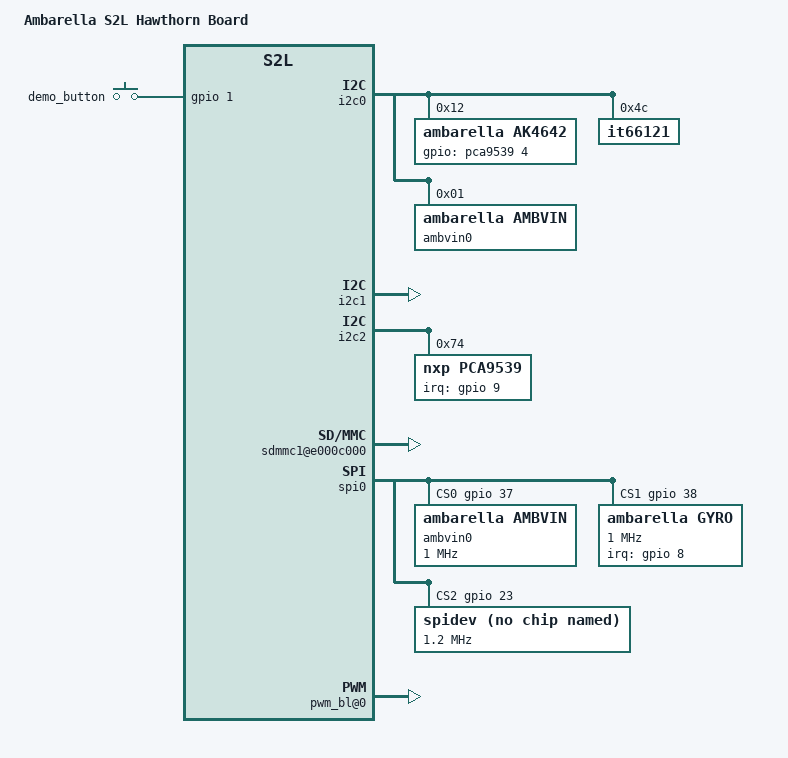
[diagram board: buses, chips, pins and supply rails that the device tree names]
/*
 * Copyright (C) 2013 Ambarella,Inc. - http://www.ambarella.com/
 * Author: Cao Rongrong <rrcao@ambarella.com>
 *
 * This program is free software; you can redistribute it and/or modify
 * it under the terms of the GNU General Public License version 2 as
 * published by the Free Software Foundation.
 */
/dts-v1/;

/include/ "ambarella-s2l.dtsi"

/ {
	model = "Ambarella S2L Hawthorn Board";
	compatible = "ambarella,hawthorn", "ambarella,s2l";

	chosen {
		bootargs = "console=ttyS0 ubi.mtd=lnx root=ubi0:rootfs rw rootfstype=ubifs init=/linuxrc";
	};

	apb@e8000000 {
		i2c0: i2c@e8003000 {
			status = "ok";

			ak4642: codec@12 {
				compatible = "ambarella,ak4642";
				reg = <0x12>;
				gpios = <&pca9539 4 0x0>;
			};

			it66121@4c {
				compatible = "it66121";
				reg = <0x4c>;
			};

			ambvin0@01 {
				compatible = "ambarella,ambvin";
				reg = <0x01>;	/* fake address, will be overwritten in runtime */
			};
	        };

		i2c1: i2c@e8001000 {
			status = "ok";
	        };

		i2c2: i2c@e8007000 {
			status = "ok";

			pca9539: pca9539@74 {
				compatible = "nxp,pca9539";
				reg = <0x74>;
				interrupt-parent = <&gpio>;
				interrupts = <9 0x0>;
				gpio-controller;
				#gpio-cells = <2>;
				interrupt-controller;
				#interrupt-cells = <2>;
			};
	        };

		adc@e801d000 {
			amb,keymap =
				/* channel 1 */
				<0x1fff0c1c 0>,   /* KEY_RESERVED */
				<0x1c1c0a8c 373>, /* KEY_MODE */
				<0x19600708 111>, /* KEY_DELETE */
				<0x154603e8 167>, /* KEY_RECORD */
				<0x1320012c 211>, /* KEY_HP */
				<0x10c80000 212>, /* KEY_CAMERA */
				/* channel 3 */
				<0x3fff0c1c 0>,   /* KEY_RESERVED */
				<0x3c1c0af0 139>, /* KEY_MENU */
				<0x3af007d0 106>, /* KEY_RIGHT */
				<0x37d003e8 105>, /* KEY_LEFT */
				<0x33e80190 108>, /* KEY_DOWN */
				<0x31900000 103>; /* KEY_UP */
		};

		ir@e8006000 {
			amb,protocol = <1>;
			amb,keymap =
				<0x0100bcbd 116>, /* KEY_POWER */
				<0x01000405 115>, /* KEY_VOLUMEUP */
				<0x01008485 114>; /* KEY_VOLUMEDOWN */
			/* amb,print-key; */
		};
	};

	ahb@e0000000 {
		sdmmc0@e0002000 {
			slot@0 {
				pwr-gpios = <&pca9539 0 0x1>;
				v18-gpios = <&gpio 0 0x0>;
				amb,caps-ddr;
				max-frequency = <200000000>;
			};
		};

		sdmmc1@e000c000 {
			status = "ok";
			slot@0 {
				pwr-gpios = <&pca9539 1 0x1>;
				no-1-8-v;
				keep-power-in-suspend;
				max-frequency = <50000000>;
				bus-width = <4>;
			};
		};

		mac0: ethernet@e000e000 {
			phy@3 {
				rst-gpios = <&pca9539 2 0x0>;
				interrupt-parent = <&gpio>;
				interrupts = <10 0x8>;
			};
		};

		spi0: spi@e0020000 {
			cs-gpios = <&gpio 37 0>, <&gpio 38 0>, <&gpio 23 0>;

			ambvin0@0 {
				compatible = "ambarella,ambvin";
				reg = <0>;
				spi-max-frequency = <1000000>;
				spi-cpha;
				spi-cpol;
			};

			gyro@1 {
				compatible = "ambarella,gyro";
				reg = <1>;
				spi-max-frequency = <1000000>;
				spi-cpha;
				spi-cpol;
				irq-gpio = <&gpio 8 0>;
			};
			spidev@2 {
				compatible = "ambarella,spidev";
				reg = <2>;
				spi-max-frequency = <1200000>;
				spi-cpha;
				spi-cpol;
			};
		};
	};

	rct@ec170000 {
		usbphy: usbphy@ec170050 {
			/* high will trigger the ocp interrupt */
			amb,ocp-polarity = <0>;
			pinctrl-names = "default";
			pinctrl-0 = <&usb_host0_pins>;
			id-gpios = <&gpio 3 0x0>;
		};
	};

	sound {
		compatible = "ambarella,audio-board";
		amb,model = "Ambarella @ Audio";
		amb,i2s-controllers = <&i2s0>;
		amb,audio-codec = <&ak4642>;
		amb,dummy-codec = <&dummycodec>;
		amb,dai_fmt = <0>;
		amb,dummy_dai_fmt = <4>;
		amb,clk_fmt = <0>;
		amb,codec-name = "ak4642";
		amb,stream-name = "ak4642 PCM";
		amb,codec-dai-name = "ak4642-hifi";
                amb,audio-routing = "LIN1",     "Mic Bias",
                                    "RIN1",     "Mic Bias",
                                    "Mic Bias", "Mic internal",
                                    "LIN2",     "Line In",
                                    "RIN2",     "Line In",
                                    "Line Out", "LOUT",
                                    "Line Out", "ROUT",
                                    "HP Jack",  "HPL",
                                    "HP Jack",  "HPR",
                                    "Speaker",  "SPP",
                                    "Speaker",  "SPN";
	};

	gpio_keys {
		compatible = "gpio-keys";
		#address-cells = <1>;
		#size-cells = <0>;

		demo_button {
			label = "demo_button";
			gpios = <&gpio 1 0>;
			debounce-interval = <10>;
			linux,code = <116>;
			gpio-key,wakeup;
		};
	};

	bogus_bus {
		pwm_bl@0 {
			compatible = "pwm-backlight";
			reg = <0>;
			pwms = <&pwm 0 200000 0>;
			pinctrl-names = "default";
			pinctrl-0 = <&pwm0_pins_c>;
			brightness-levels =
				<0 1 2 3 4 5 6 7 8 9 10 11 12 13 14 15
				16 17 18 19 20 21 22 23 24 25 26 27 28 29 30 31
				32 33 34 35 36 37 38 39 40 41 42 43 44 45 46 47
				48 49 50 51 52 53 54 55 56 57 58 59 60 61 62 63
				64 65 66 67 68 69 70 71 72 73 74 75 76 77 78 79
				80 81 82 83 84 85 86 87 88 89 90 91 92 93 94 95
				96 97 98 99 100 101 102 103 104 105 106 107 108 109 110 111
				112 113 114 115 116 117 118 119 120 121 122 123 124 125 126 127
				128 129 130 131 132 133 134 135 136 137 138 139 140 141 142 143
				144 145 146 147 148 149 150 151 152 153 154 155 156 157 158 159
				160 161 162 163 164 165 166 167 168 169 170 171 172 173 174 175
				176 177 178 179 180 181 182 183 184 185 186 187 188 189 190 191
				192 193 194 195 196 197 198 199 200 201 202 203 204 205 206 207
				208 209 210 211 212 213 214 215 216 217 218 219 220 221 222 223
				224 225 226 227 228 229 230 231 232 233 234 235 236 237 238 239
				240 241 242 243 244 245 246 247 248 249 250 251 252 253 254 255>;
			default-brightness-level = <0>;
		};
	};

	iav {
		compatible = "ambarella,iav";

		/* node for vin controller */
		vinc0 {
			vinrst-gpios = <&pca9539 8 0>;
			/* vinpwr-gpios = <>; */
		};
	};
};

